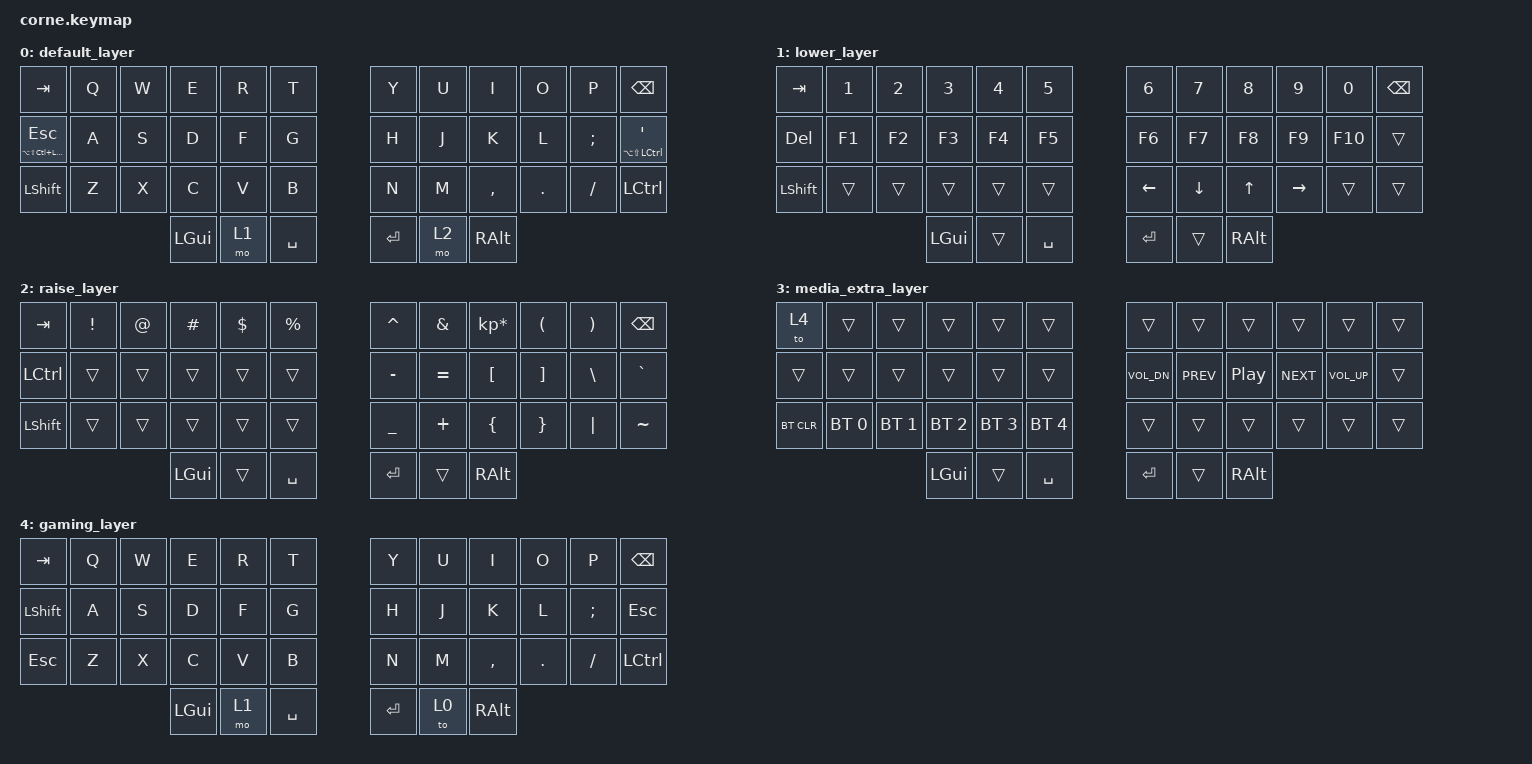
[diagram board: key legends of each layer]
/*
 * Copyright (c) 2020 The ZMK Contributors
 *
 * SPDX-License-Identifier: MIT
 */

#include <behaviors.dtsi>
#include <dt-bindings/zmk/keys.h>
#include <dt-bindings/zmk/bt.h>

/ {
        conditional_layers {
            compatible = "zmk,conditional-layers";
            tri_layer {
                if-layers = <1 2>;
                then-layer = <3>;
            };
        };
        keymap {
                compatible = "zmk,keymap";

                default_layer {
// -----------------------------------------------------------------------------------------
// |  TAB |  Q  |  W  |  E  |  R  |  T  |   |  Y  |  U   |  I  |  O  |  P  | BKSP |
// | ESC |  A  |  S  |  D  |  F  |  G  |   |  H  |  J   |  K  |  L  |  ;  |  '   |
// | SHFT |  Z  |  X  |  C  |  V  |  B  |   |  N  |  M   |  ,  |  .  |  /  | CTRL  |
//                    | GUI | LWR | SPC |   | ENT | RSE  | ALT |
//                           meh on hold    hyper on hold  
                        bindings = <
   &kp TAB   &kp Q &kp W &kp E &kp R &kp T                    &kp Y &kp U  &kp I     &kp O   &kp P    &kp BSPC
   &mt LA(LS(LC(LWIN))) ESC &kp A &kp S &kp D &kp F &kp G                      &kp H &kp J  &kp K   &kp L   &kp SEMI &mt LA(LS(LCTRL)) SQT
   &kp LSHFT &kp Z &kp X &kp C &kp V &kp B                    &kp N &kp M  &kp COMMA &kp DOT &kp FSLH &kp LCTRL
                  &kp LGUI &mo 1 &kp SPACE   &kp RET &mo 2 &kp RALT
                        >;
                };
                lower_layer {
// -----------------------------------------------------------------------------------------
// |  TAB |  1  |  2  |  3  |  4  |  5  |   |  6  |  7  |  8  |  9  |  0  | BKSP |
// | DEL  |F1   |F2   | F3  | F4  | F5  |   |F6   |F7   |F8   | F9  |F10  |      |
// | SHFT |     |     |     |     |     |   | LFT | DWN |  UP | RGT |     |      |
//                    | GUI |     | SPC |   | ENT |     | ALT |
                        bindings = <
   &kp TAB    &kp N1       &kp N2       &kp N3       &kp N4       &kp N5         &kp N6   &kp N7   &kp N8 &kp N9    &kp N0 &kp BSPC
   &kp DEL  &kp F1   &kp F2 &kp F3 &kp F4 &kp F5   &kp F6 &kp F7 &kp F8 &kp F9 &kp F10 &trans
   &kp LSHFT &trans   &trans &trans   &trans   &trans   &kp LEFT &kp DOWN &kp UP &kp RIGHT &trans &trans
                          	        &kp LGUI     &trans       &kp SPACE      &kp RET  &trans   &kp RALT
                        >;
                };

                raise_layer {
// -----------------------------------------------------------------------------------------
// |  TAB |  !  |  @  |  #  |  $  |  %  |   |  ^  |  &  |  *  |  (  |  )  | BKSP |
// | CTRL |     |     |     |     |     |   |  -  |  =  |  [  |  ]  |  \  |  `   |
// | SHFT |     |     |     |     |     |   |  _  |  +  |  {  |  }  | "|" |  ~   |
//                    | GUI |     | SPC |   | ENT |     | ALT |
                        bindings = <
   &kp  TAB  &kp EXCL &kp AT &kp HASH &kp DLLR &kp PRCNT   &kp CARET &kp AMPS  &kp KP_MULTIPLY &kp LPAR &kp RPAR &kp BSPC
   &kp LCTRL &trans   &trans &trans   &trans   &trans      &kp MINUS &kp EQUAL &kp LBKT        &kp RBKT &kp BSLH &kp GRAVE
   &kp LSHFT &trans   &trans &trans   &trans   &trans      &kp UNDER &kp PLUS  &kp LBRC        &kp RBRC &kp PIPE &kp TILDE
                    	     &kp LGUI &trans   &kp SPACE   &kp RET   &trans    &kp RALT
                        >;
                };
                media_extra_layer {
// -----------------------------------------------------------------------------------------
// | Toggle Gaming  |     |     |     |     |     |     |     |     |     |     |     |     |
// |     |     |     |     |     |     |     | VOL DOWN | PREV | P/P | NEXT | VOL UP |     |
// | BTCLR| BT1 | BT2 | BT3 | BT4 | BT5 |    |     |     |     |     |     |     |
//                    | GUI |     | SPC |    | ENT |     | ALT |
                        bindings = <

   &to 4 &trans &trans &trans &trans &trans   &trans &trans &trans &trans &trans &trans  
   &trans &trans &trans &trans &trans &trans   &kp C_VOL_DN &kp C_PREV &kp C_PP &kp C_NEXT &kp C_VOL_UP &trans  
   &bt BT_CLR &bt BT_SEL 0 &bt BT_SEL 1 &bt BT_SEL 2 &bt BT_SEL 3 &bt BT_SEL 4      &trans &trans &trans &trans &trans &trans 
                    	     &kp LGUI &trans   &kp SPACE   &kp RET   &trans    &kp RALT
                        >;
                };
                gaming_layer {
// -----------------------------------------------------------------------------------------
// |  TAB |  Q  |  W  |  E  |  R  |  T  |   |  Y  |  U   |  I  |  O  |  P  | BKSP |
// | SHFT |  A  |  S  |  D  |  F  |  G  |   |  H  |  J   |  K  |  L  |  ;  |  ESC   |
// | ESC |  Z  |  X  |  C  |  V  |  B  |   |  N  |  M   |  ,  |  .  |  /  | CTRL  |
//                    | GUI | LWR | SPC |   | ENT | Layer O  | ALT |
//                           meh on hold    hyper on hold  
                        bindings = <
   &kp TAB   &kp Q &kp W &kp E &kp R &kp T                    &kp Y &kp U  &kp I     &kp O   &kp P    &kp BSPC
   &kp LSHFT &kp A &kp S &kp D &kp F &kp G                    &kp H &kp J  &kp K   &kp L   &kp SEMI &kp ESC 
   &kp ESC &kp Z &kp X &kp C &kp V &kp B                    &kp N &kp M  &kp COMMA &kp DOT &kp FSLH &kp LCTRL
                  &kp LGUI &mo 1 &kp SPACE   &kp RET &to 0 &kp RALT
                        >;
                };
        };
};


//media layer
// add delete key 

